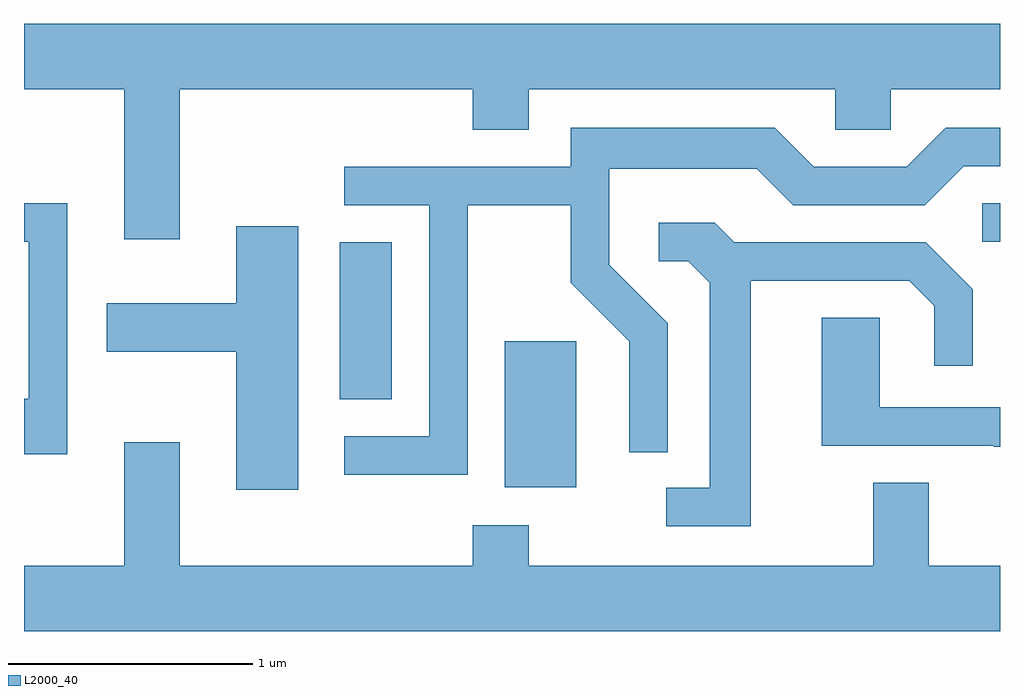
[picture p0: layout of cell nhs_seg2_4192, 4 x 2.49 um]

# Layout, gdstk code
import gdstk
lib = gdstk.Library(unit=1e-6, precision=1e-09)
def R(c, l, rs):  # rectangles x0, y0, x1, y1
    for r in rs: c.add(gdstk.rectangle(r[:2], r[2:], *l))
def P(c, l, *ps):  # polygons
    for p in ps: c.add(gdstk.Polygon(p, *l))
L2000_40 = (2000, 40)

nhs_seg2_4192 = lib.new_cell('nhs_seg2_4192')
R(nhs_seg2_4192, L2000_40, [(309.581,1095.526,309.874,1096.124), (308.906,1095.886,309.119,1096.529), (311.538,1096.531,311.611,1096.689)])
P(nhs_seg2_4192, L2000_40, [(308.249,1097.156),(309.451,1097.156),(309.451,1096.991),(309.679,1096.991),(309.679,1097.156),(310.936,1097.156),(310.936,1096.991),(311.164,1096.991),(311.164,1097.156),(311.611,1097.156),(311.611,1097.424),(307.611,1097.424),(307.611,1097.156),(308.021,1097.156),(308.021,1096.541),(308.249,1096.541)],
  [(309.429,1096.681),(309.851,1096.681),(309.851,1096.364),(310.091,1096.124),(310.091,1095.668),(310.249,1095.668),(310.249,1096.197),(310.009,1096.437),(310.009,1096.831),(310.614,1096.831),(310.764,1096.681),(311.302,1096.681),(311.462,1096.841),(311.611,1096.841),(311.611,1096.999),(311.389,1096.999),(311.229,1096.839),(310.847,1096.839),(310.687,1096.999),(309.851,1096.999),(309.851,1096.839),(308.923,1096.839),(308.923,1096.681),(309.271,1096.681),(309.271,1095.734),(308.923,1095.734),(308.923,1095.576),(309.429,1095.576)],
  [(307.789,1096.689),(307.611,1096.689),(307.611,1096.531),(307.631,1096.531),(307.631,1095.889),(307.611,1095.889),(307.611,1095.661),(307.789,1095.661)],
  [(310.589,1096.371),(311.239,1096.371),(311.341,1096.269),(311.341,1096.023),(311.499,1096.023),(311.499,1096.337),(311.307,1096.529),(310.522,1096.529),(310.442,1096.609),(310.213,1096.609),(310.213,1096.451),(310.334,1096.451),(310.421,1096.364),(310.421,1095.524),(310.243,1095.524),(310.243,1095.366),(310.589,1095.366)],
  [(308.734,1096.594),(308.481,1096.594),(308.481,1096.279),(307.951,1096.279),(307.951,1096.081),(308.481,1096.081),(308.481,1095.516),(308.734,1095.516)],
  [(311.611,1095.854),(311.119,1095.854),(311.119,1096.219),(310.881,1096.219),(310.881,1095.696),(311.585,1095.696),(311.585,1095.691),(311.611,1095.691)],
  [(311.611,1095.204),(311.319,1095.204),(311.319,1095.544),(311.091,1095.544),(311.091,1095.204),(309.679,1095.204),(309.679,1095.369),(309.451,1095.369),(309.451,1095.204),(308.249,1095.204),(308.249,1095.709),(308.021,1095.709),(308.021,1095.204),(307.611,1095.204),(307.611,1094.936),(311.611,1094.936)])

lib.write_gds('nhs_seg2_4192.gds')
